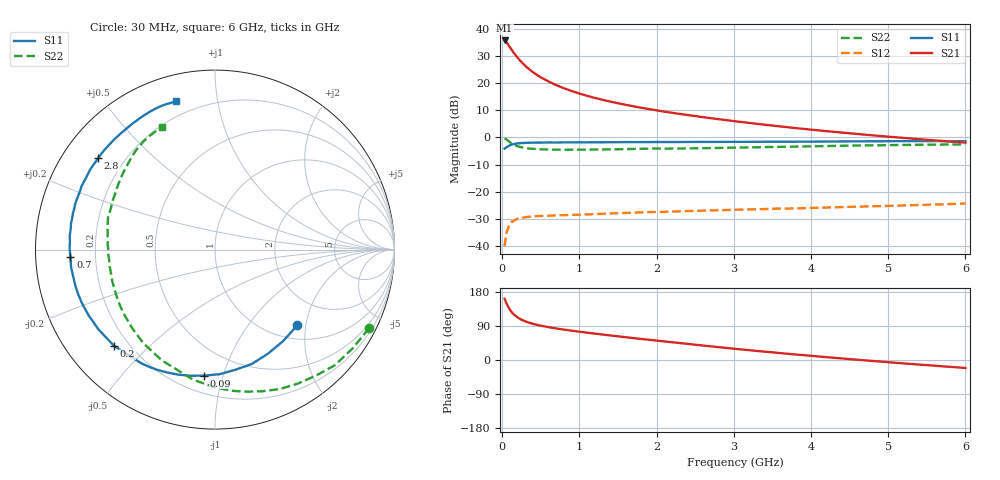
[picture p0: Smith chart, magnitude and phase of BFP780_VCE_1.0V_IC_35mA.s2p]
! Infineon Technologies  Discrete & RF Semiconductors
! BFP780
! VCE =  1.0 V,  IC =  35 mA
! Common Emitter S-Parameters:  Jul 2015
# GHz  S  MA  R  50
!  f  S11  S21  S12  S22
! GHz  MAG  ANG  MAG  ANG  MAG  ANG  MAG  ANG
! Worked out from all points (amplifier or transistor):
!   75 points, 30 MHz to 6 GHz, reference 50 ohm
!   highest |S21| = 35.7 dB at 30 MHz (marker M1)
!   |S21| within 3 dB of that: start of sweep to 110.5 MHz
!   unconditionally stable (mu >= 1): 2.132 GHz to end of sweep
!   at 150 MHz: K = 0.10, MSG = 30.9 dB, |S12| = -30.7 dB
!   at 2.3 GHz: K = 1.05, MAG = 16.6 dB, |S12| = -27.2 dB
!   at 6 GHz: K = 1.61, MAG = 6.6 dB, |S12| = -24.3 dB
!   S11 on the Smith chart (normalised r, x): 30 MHz: 1.30, -1.79; 90 MHz: 0.31, -0.87; 200 MHz: 0.15, -0.39; 700 MHz: 0.11, -0.03; 2.8 GHz: 0.11, +0.34; 6 GHz: 0.13, +0.77
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0.03  0.6231 -42.6  61.27 161.5  0.0099 74.9  0.9644 -27.0
0.05  0.6505 -63.0  57.59 151.5  0.0165 63.7  0.9281 -43.9
0.06  0.6695 -72.1  55.41 147.2  0.0189 58.8  0.8994 -51.4
0.08  0.6948 -87.9  50.54 139.0  0.0223 52.1  0.8565 -65.1
0.09  0.7048 -95.0  48.02 135.5  0.0242 48.9  0.8326 -71.4
0.11  0.7263 -106.4  43.48 129.4  0.0266 43.6  0.7943 -82.5
0.14  0.7493 -119.4  37.77 122.2  0.0284 37.2  0.7443 -96.1
0.15  0.755 -122.9  36.14 120.2  0.0293 35.4  0.7326 -100.0
0.2  0.777 -136.4  29.22 112.1  0.0318 28.9  0.684 -115.9
0.25  0.7872 -145.7  24.35 106.2  0.0328 23.8  0.6567 -127.5
0.3  0.7937 -152.6  20.7 101.8  0.034 21.2  0.6362 -136.3
0.35  0.7989 -157.8  17.97 98.2  0.0345 18.9  0.6237 -143.1
0.5  0.8039 -168.3  12.8 90.5  0.0357 15.7  0.6036 -156.8
0.7  0.8066 -177.0  9.186 83.1  0.0368 13.6  0.5943 -167.7
1.1  0.8119 171.8  5.835 72.0  0.0381 12.4  0.5954 179.3
1.5  0.8166 163.7  4.26 62.5  0.0401 12.4  0.6052 170.9
2.1  0.8225 153.1  2.99 49.0  0.0425 11.4  0.621 161.0
2.8  0.8273 141.9  2.173 34.0  0.0455 10.2  0.6395 150.0
3.1  0.8294 137.3  1.923 27.9  0.0467 9.5  0.651 145.6
4.1  0.8387 123.5  1.349 9.2  0.0506 7.5  0.6894 133.1
5.1  0.8529 112.5  1.006 -7.4  0.0552 5.0  0.7238 122.6
6  0.8532 104.6  0.802 -21.0  0.0607 1.7  0.7452 113.3
